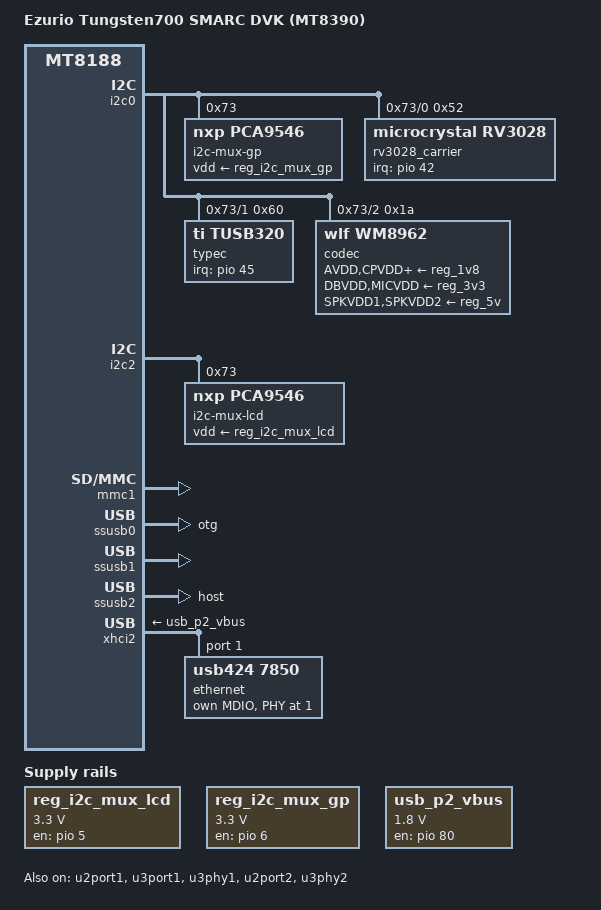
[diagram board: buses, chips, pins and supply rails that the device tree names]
// SPDX-License-Identifier: (GPL-2.0 OR MIT)
/*
 * Copyright (C) 2026 Ezurio LLC
 */

/dts-v1/;

#include "tungsten-mt8390-smarc.dtsi"

/ {
	model = "Ezurio Tungsten700 SMARC DVK (MT8390)";
	compatible = "summit,mt8390-tungsten-smarc-dvk",
		     "summit,mt8390-tungsten-smarc", "mediatek,mt8390",
		     "mediatek,mt8188";

	aliases {
		rtc0 = &rv3028_carrier;
		rtc1 = &rtc;
	};

	reg_i2c_mux_lcd: regulator-i2c-mux-lcd {
		compatible = "regulator-fixed";
		regulator-name = "reg_i2c_mux_lcd";
		regulator-min-microvolt = <3300000>;
		regulator-max-microvolt = <3300000>;
		pinctrl-names = "default";
		pinctrl-0 = <&pinctrl_i2c_mux_lcd>;
		gpio = <&pio 5 GPIO_ACTIVE_HIGH>;
		enable-active-high;
	};

	reg_i2c_mux_gp: regulator-i2c-mux-gp {
		compatible = "regulator-fixed";
		regulator-name = "reg_i2c_mux_gp";
		regulator-min-microvolt = <3300000>;
		regulator-max-microvolt = <3300000>;
		pinctrl-names = "default";
		pinctrl-0 = <&pinctrl_i2c_mux_gp>;
		gpio = <&pio 6 GPIO_ACTIVE_HIGH>;
		enable-active-high;
	};

	usb_p2_vbus: regulator-usb-p2-vbus {
		compatible = "regulator-fixed";
		pinctrl-names = "default";
		pinctrl-0 = <&usb2_eth_pins>;
		regulator-name = "vbus_p2";
		regulator-min-microvolt = <1800000>;
		regulator-max-microvolt = <1800000>;
		gpio = <&pio 80 GPIO_ACTIVE_HIGH>;
		enable-active-high;
	};
};

&i2c0 {
	status = "okay";

	i2c-mux-gp@73 {
		compatible = "nxp,pca9546";
		reg = <0x73>;
		vdd-supply = <&reg_i2c_mux_gp>;
		#address-cells = <1>;
		#size-cells = <0>;

		i2c_mux_gp_0: i2c@0 {
			reg = <0>;
			#address-cells = <1>;
			#size-cells = <0>;

			rv3028_carrier: rtc@52 {
				compatible = "microcrystal,rv3028";
				reg = <0x52>;

				backup-switchover-dsm;
				interrupts-extended = <&pio 42 IRQ_TYPE_LEVEL_LOW>;
				pinctrl-names = "default";
				pinctrl-0 = <&rv3028_pins>;
				#clock-cells = <0>;
				wakeup-source;
			};
		};

		i2c_mux_gp_1: i2c@1 {
			reg = <1>;
			#address-cells = <1>;
			#size-cells = <0>;

			typec: typec@60 {
				compatible = "ti,tusb320";
				reg = <0x60>;
				interrupts-extended = <&pio 45 IRQ_TYPE_LEVEL_LOW>;
				pinctrl-names = "default";
				pinctrl-0 = <&tusb320_pins>;
			};
		};

		i2c_mux_gp_2: i2c@2 {
			reg = <2>;
			#address-cells = <1>;
			#size-cells = <0>;

			codec: codec@1a {
				compatible = "wlf,wm8962";
				reg = <0x1a>;
				#sound-dai-cells = <0>;
				clocks = <&topckgen CLK_TOP_I2SO1>;
				AVDD-supply = <&reg_1v8>;
				CPVDD-supply = <&reg_1v8>;
				DBVDD-supply = <&reg_3v3>;
				DCVDD-supply = <&reg_1v8>;
				MICVDD-supply = <&reg_3v3>;
				PLLVDD-supply = <&reg_1v8>;
				SPKVDD1-supply = <&reg_5v>;
				SPKVDD2-supply = <&reg_5v>;
				gpio-cfg = <0x0000 0x0000 0x0000 0x0000 0x8081 0x8095>;
			};
		};

		i2c_mux_gp_3: i2c@3 {
			reg = <3>;
			#address-cells = <1>;
			#size-cells = <0>;
		};
	};
};

&i2c2 {
	status = "okay";

	i2c-mux-lcd@73 {
		compatible = "nxp,pca9546";
		reg = <0x73>;
		vdd-supply = <&reg_i2c_mux_lcd>;
		#address-cells = <1>;
		#size-cells = <0>;

		i2c_mux_lcd_0: i2c@0 {
			reg = <0>;
			#address-cells = <1>;
			#size-cells = <0>;
		};

		i2c_mux_lcd_1: i2c@1 {
			reg = <1>;
			#address-cells = <1>;
			#size-cells = <0>;
		};

		i2c_mux_lcd_2: i2c@2 {
			reg = <2>;
			#address-cells = <1>;
			#size-cells = <0>;
		};
	};
};

&mmc1 {
	status = "okay";
};

&sound {
	compatible = "mediatek,mt8188-mt6359";
	model = "mt8390-wm8962";
	pinctrl-names = "default";
	pinctrl-0 = <&audio_pins>;
	audio-routing =
		"Headphone Jack", "HPOUTL",
		"Headphone Jack", "HPOUTR",
		"Ext Spk", "SPKOUTL",
		"Ext Spk", "SPKOUTR",
		"AMIC", "MICBIAS",
		"IN3R", "AMIC",
		"IN1R", "AMIC";
	mediatek,adsp = <&adsp>;
	status = "okay";

	dai-link-0 {
		link-name = "DL_SRC_BE";

		codec {
			sound-dai = <&pmic 0>;
		};
	};

	dai-link-2 {
		link-name = "ETDM1_IN_BE";
		dai-format = "i2s";
		mediatek,clk-provider = "cpu";

		codec {
			sound-dai = <&codec>;
		};
	};

	dai-link-3 {
		link-name = "ETDM1_OUT_BE";
		dai-format = "i2s";
		mediatek,clk-provider = "cpu";

		codec {
			sound-dai = <&codec>;
		};
	};
};

&ssusb0 {
	dr_mode = "otg";
	maximum-speed = "high-speed";
	extcon = <&typec>;
};

&ssusb1 {
	status = "okay";
};

&u2port1 {
	status = "okay";
};

&u3port1 {
	status = "okay";
};

&u3phy1 {
	status = "okay";
};

&ssusb2 {
	dr_mode = "host";
	maximum-speed = "high-speed";
	wakeup-source;
	vusb33-supply = <&mt6359_vusb_ldo_reg>;
	status = "okay";
};

&u2port2 { 
	status = "okay";
};

&u3phy2 { 
	status = "okay";
};

&xhci2 {
	vbus-supply = <&usb_p2_vbus>;
	vusb33-supply = <&mt6359_vusb_ldo_reg>;
	#address-cells = <1>;
	#size-cells = <0>;
	status = "okay";

	ethernet@1 {
		compatible = "usb424,7850";
		reg = <1>;
		#address-cells = <1>;
		#size-cells = <0>;

		mdio {
			#address-cells = <1>;
			#size-cells = <0>;

			ethernet-phy@1 {
				reg = <1>;
				microchip,led-modes = <
					LAN78XX_LINK_1000_ACTIVITY
					LAN78XX_LINK_10_ACTIVITY
					LAN78XX_LINK_10_100_ACTIVITY
					LAN78XX_LINK_ACTIVITY
				>;
			};
		};
	};
};

&pio {
	pinctrl_i2c_mux_gp: pinctrl-i2c-mux-gp {
		pins-reset {
			pinmux = <PINMUX_GPIO6__FUNC_B_GPIO6>;
			bias-pull-up;
		};
	};

	pinctrl_i2c_mux_lcd: pinctrl-i2c-mux-lcd {
		pins-reset {
			pinmux = <PINMUX_GPIO5__FUNC_B_GPIO5>;
			bias-pull-down;
		};
	};

	rv3028_carrier_pins: rv3028-carrier-pins {
		pins-irq {
			pinmux = <PINMUX_GPIO42__FUNC_B_GPIO42>;
			bias-pull-up = <MTK_PUPD_SET_R1R0_01>;
			input-enable;
		};
	};

	usb2_eth_pins: usb2-eth-pins {
		pins {
			pinmux = <PINMUX_GPIO80__FUNC_B_GPIO80>;
			output-low;
		};
	};

	tusb320_pins: tusb320-pins {
		pins-irq {
			pinmux = <PINMUX_GPIO45__FUNC_B_GPIO45>;
			bias-pull-up = <MTK_PUPD_SET_R1R0_01>;
			input-enable;
		};
	};
};
